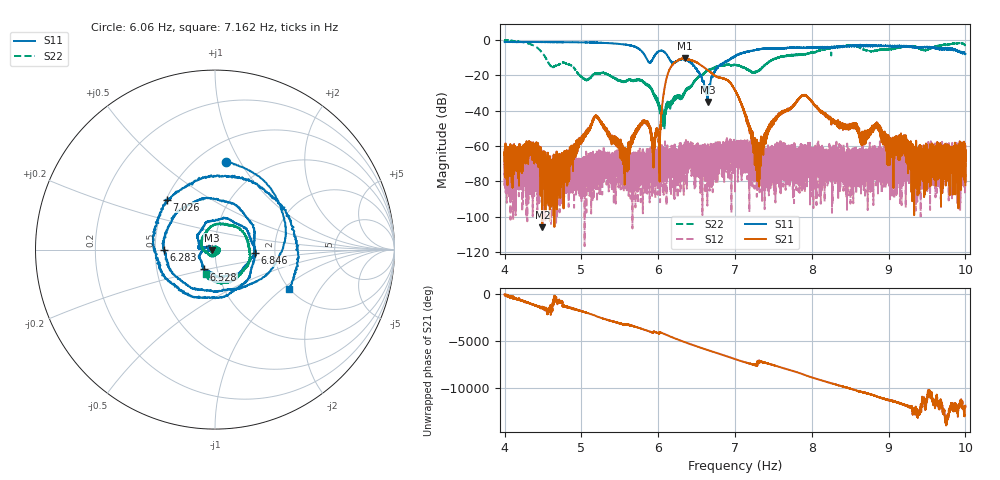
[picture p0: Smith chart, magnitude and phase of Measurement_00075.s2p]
!Created with skrf (http://scikit-rf.org).
# Hz S RI R 50.0
!freq ReS11 ImS11 ReS21 ImS21 ReS12 ImS12 ReS22 ImS22
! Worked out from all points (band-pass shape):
!   14001 points, 4 Hz to 10 Hz, reference 50 ohm
!   highest |S21| = -10.29 dB at 6.343 Hz (marker M1); lowest = -106.0 dB at 4.491 Hz (marker M2)
!   |S21| within 3 dB of the highest: 6.199558 Hz to 6.200161 Hz (602.6 uHz wide, 0.00972 % of centre); 6.2 Hz to 6.527 Hz (326.1 mHz wide, 5.13 % of centre)
!   lowest |S11| = -34.9 dB at 6.643 Hz (marker M3), VSWR 1.04, Z = 48.3 - j0.446 ohm
!   |S11| at or under -10 dB: 5.843 Hz to 5.937 Hz (93.47 mHz wide, 1.59 % of centre); 5.936741 Hz to 5.937251 Hz (510.3 uHz wide, 0.00859 % of centre); 6.137 Hz to 6.962 Hz (824.4 mHz wide, 12.6 % of centre)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
!   |S22| runs from -50.4 to -0.2 dB; largest |S21 - S12| = 0.31
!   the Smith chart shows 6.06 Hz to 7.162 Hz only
!   S11 on the Smith chart (normalised r, x): 6.06 Hz: 0.68, +0.87; 6.283 Hz: 0.56, -0.00; 6.528 Hz: 0.86, -0.19; 6.846 Hz: 1.57, -0.07; 7.026 Hz: 0.50, +0.33; 7.162 Hz: 1.99, -1.13
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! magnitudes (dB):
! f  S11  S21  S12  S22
! 4 Hz  -1.1  -64.9  -82.3  -0.2
! 4.491 Hz  -1.1  -106.0  -81.8  -7.3
! 4.726 Hz  -1.1  -68.6  -79.5  -13.3
! 5 Hz  -1.3  -57.4  -74.3  -20.6
! 5.191 Hz  -1.4  -43.0  -69.1  -18.9
! 5.572 Hz  -2.6  -64.7  -67.5  -23.4
! 5.795 Hz  -6.8  -47.0  -61.6  -23.3
! 6 Hz  -6.5  -53.4  -69.6  -34.8
! 6.06 Hz  -6.1  -33.9  -64.0  -45.1
! 6.283 Hz  -10.9  -10.8  -64.8  -32.9
! 6.343 Hz  -10.7  -10.3  -68.7  -30.0
! 6.528 Hz  -17.9  -13.4  -68.9  -21.0
! 6.643 Hz  -34.9  -16.9  -66.8  -17.2
! 6.846 Hz  -13.0  -21.7  -63.5  -14.5
! 7 Hz  -9.1  -28.4  -85.7  -14.0
! 7.026 Hz  -8.2  -30.6  -61.3  -14.1
! 7.162 Hz  -6.6  -46.9  -65.6  -16.6
! 7.297 Hz  -5.3  -62.1  -69.3  -17.5
! 7.57 Hz  -4.9  -42.6  -59.0  -9.7
! 8 Hz  -4.4  -34.7  -65.9  -6.9
! 9 Hz  -3.4  -56.6  -70.2  -5.0
! 10 Hz  -7.8  -82.2  -79.1  -3.1
